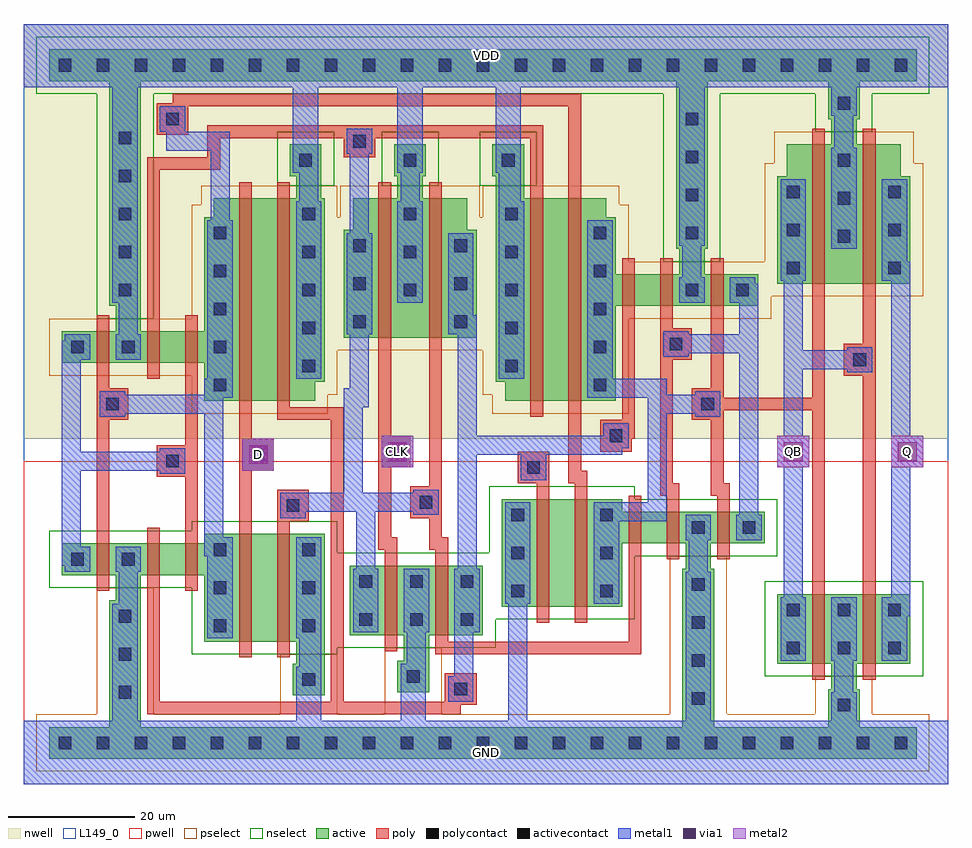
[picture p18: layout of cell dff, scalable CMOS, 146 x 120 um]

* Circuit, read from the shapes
.subckt dff CLK D GND Q QB VDD
M1 GND n1 n2 GND nfet w=5u l=2u
M2 n3 n4 GND GND nfet w=5u l=2u
M3 n1 n2 n3 GND nfet w=5u l=2u
M4 n5 D n1 GND nfet w=17u l=2u
M5 GND n6 n5 GND nfet w=17u l=2u
M6 GND CLK n6 GND nfet w=11u l=2u
M7 n4 n6 GND GND nfet w=11u l=2u
M8 n7 n4 GND GND nfet w=17u l=2u
M9 n8 n1 n7 GND nfet w=17u l=2u
M10 n9 n6 n8 GND nfet w=5u l=2u
M11 GND n10 n9 GND nfet w=5u l=2u
M12 n10 n8 GND GND nfet w=5u l=2u
M13 GND n8 QB GND nfet w=11u l=2u
M14 Q QB GND GND nfet w=11u l=2u
M15 VDD n1 n2 VDD pfet w=5u l=2u
M16 n11 n6 VDD VDD pfet w=5u l=2u
M17 n1 n2 n11 VDD pfet w=5u l=2u
M18 n12 D n1 VDD pfet w=32u l=2u
M19 VDD n4 n12 VDD pfet w=32u l=2u
M20 VDD CLK n6 VDD pfet w=22u l=2u
M21 n4 n6 VDD VDD pfet w=22u l=2u
M22 n13 n6 VDD VDD pfet w=32u l=2u
M23 n8 n1 n13 VDD pfet w=32u l=2u
M24 n14 n4 n8 VDD pfet w=5u l=2u
M25 VDD n10 n14 VDD pfet w=5u l=2u
M26 n10 n8 VDD VDD pfet w=5u l=2u
M27 VDD n8 QB VDD pfet w=22u l=2u
M28 Q QB VDD VDD pfet w=22u l=2u
.ends

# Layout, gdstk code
from math import pi, radians
import gdstk
lib = gdstk.Library(unit=1e-6, precision=1e-09)
def R(c, l, rs):  # rectangles x0, y0, x1, y1
    for r in rs: c.add(gdstk.rectangle(r[:2], r[2:], *l))
def A(c, l, x, y, w, h, nx, ny, dx, dy):  # array of equal rectangles
    R(c, l, [(x+i*dx, y+j*dy, x+i*dx+w, y+j*dy+h) for i in range(nx) for j in range(ny)])
def P(c, l, *ps):  # polygons
    for p in ps: c.add(gdstk.Polygon(p, *l))
pwell = (41, 0)
nwell = (42, 0)
active = (43, 0)
pselect = (44, 0)
nselect = (45, 0)
poly = (46, 0)
polycontact = (47, 0)
activecontact = (48, 0)
metal1 = (49, 0)
via1 = (50, 0)
metal2 = (51, 0)
L149_0 = (149, 0)

via = lib.new_cell('via')
R(via, metal1, [(-2.5,-2.5,2.5,2.5)])
R(via, via1, [(-1.5,-1.5,1.5,1.5)])
R(via, metal2, [(-2.5,-2.5,2.5,2.5)])

dff = lib.new_cell('dff')
R(dff, pwell, [(0,0,146,51), (113,13,146,36), (45.5,17.5,78.5,40.5)])
P(dff, pwell, [(22.5,16.5),(22.5,27),(0,27),(0,44),(22.5,44),(22.5,45.5),(53.5,45.5),(53.5,16.5)],
  [(100.5,22),(100.5,32),(123,32),(123,49),(100.5,49),(100.5,51),(69.5,51),(69.5,22)])
R(dff, nwell, [(0,54.5,146,120)])
P(dff, nwell, [(113,73),(113,102),(114.5,102),(114.5,107),(144.5,107),(144.5,102),(146,102),(146,73)],
  [(99.5,54.5),(99.5,69.5),(122,69.5),(122,86.5),(99.5,86.5),(99.5,95.5),(98,95.5),(98,98.5),(68.5,98.5),(68.5,57.5),(70,57.5),(70,54.5)],
  [(22.5,54.5),(22.5,60.5),(0,60.5),(0,77.5),(22.5,77.5),(22.5,95.5),(24,95.5),(24,98.5),(53.5,98.5),(53.5,57.5),(52,57.5),(52,54.5)],
  [(44.5,64.5),(44.5,93.5),(46,93.5),(46,98.5),(76,98.5),(76,93.5),(77.5,93.5),(77.5,64.5)])
R(dff, active, [(4,4,141,9), (13.5,9,18.5,29), (104,9,109,34), (127,9,132,15), (42.5,14,47.5,19), (59,14.5,64,19.5), (127.5,15,131.5,19), (43,19,47.5,22.5), (119,19,124.5,30), (119,19,140,30), (134.5,19,140,30), (60,19.5,64,23.5), (42,22.5,47.5,39.5), (51.5,23.5,57,34.5), (51.5,23.5,72.5,34.5), (67,23.5,72.5,34.5), (75.5,28,81,45), (14.5,29,18.5,33), (6,33,11.5,38), (104.5,34,108.5,38), (111.5,38,117,43), (6,66.5,11.5,71.5), (14.5,71.5,18.5,75.5), (13.5,75.5,18.5,111), (110.5,75.5,116,80.5), (103.5,80.5,107.5,84.5), (103,84.5,108,111), (43,92.5,47,96), (59,92.5,63,96), (74.5,92.5,79,96), (42,96,47,101), (58.5,96,63.5,101), (74,96,79,101), (127.5,101,131.5,105), (127,105,132,111), (4,111,141,116)])
P(dff, active, [(28.5,22.5),(28.5,33),(6,33),(6,38),(28.5,38),(28.5,39.5),(47.5,39.5),(47.5,22.5)],
  [(134.5,79),(134.5,101),(138.5,101),(138.5,96),(140,96),(140,79)],
  [(119,79),(119,96),(120.5,96),(120.5,101),(138.5,101),(138.5,96),(140,96),(140,79)],
  [(119,79),(119,96),(120.5,96),(120.5,101),(124.5,101),(124.5,79)],
  [(93.5,60.5),(93.5,75.5),(116,75.5),(116,80.5),(93.5,80.5),(93.5,89.5),(92,89.5),(92,92.5),(74.5,92.5),(74.5,63.5),(76,63.5),(76,60.5)],
  [(80,60.5),(80,92.5),(74.5,92.5),(74.5,63.5),(76,63.5),(76,60.5)],
  [(94.5,28),(94.5,38),(117,38),(117,43),(94.5,43),(94.5,45),(75.5,45),(75.5,28)],
  [(28.5,60.5),(28.5,66.5),(6,66.5),(6,71.5),(28.5,71.5),(28.5,89.5),(30,89.5),(30,92.5),(47.5,92.5),(47.5,63.5),(46,63.5),(46,60.5)],
  [(42,60.5),(42,92.5),(47.5,92.5),(47.5,63.5),(46,63.5),(46,60.5)],
  [(66,70.5),(66,92.5),(70,92.5),(70,87.5),(71.5,87.5),(71.5,70.5)],
  [(50.5,70.5),(50.5,87.5),(52,87.5),(52,92.5),(70,92.5),(70,87.5),(71.5,87.5),(71.5,70.5)],
  [(50.5,70.5),(50.5,87.5),(52,87.5),(52,92.5),(56,92.5),(56,70.5)])
R(dff, pselect, [(2,2,143,11), (11.5,11,20.5,31), (40.5,11,49.5,20.5), (57,11,66,21.5), (102,11,111,36), (125,11,134,17)])
P(dff, pselect, [(117,77),(117,98),(118.5,98),(118.5,103),(140.5,103),(140.5,98),(142,98),(142,77)],
  [(95.5,58.5),(95.5,73.5),(118,73.5),(118,82.5),(95.5,82.5),(95.5,91.5),(94,91.5),(94,94.5),(72.5,94.5),(72.5,61.5),(74,61.5),(74,58.5)],
  [(26.5,58.5),(26.5,64.5),(4,64.5),(4,73.5),(26.5,73.5),(26.5,91.5),(28,91.5),(28,94.5),(49.5,94.5),(49.5,61.5),(48,61.5),(48,58.5)],
  [(48.5,68.5),(48.5,89.5),(50,89.5),(50,94.5),(72,94.5),(72,89.5),(73.5,89.5),(73.5,68.5)])
R(dff, nselect, [(117,17,142,32), (49.5,21.5,74.5,36.5), (11.5,73.5,20.5,109), (101,82.5,110,109), (40,94.5,49,103), (56.5,94.5,65.5,103), (72,94.5,81,103), (125,103,134,109), (2,109,143,118)])
P(dff, nselect, [(26.5,20.5),(26.5,31),(4,31),(4,40),(26.5,40),(26.5,41.5),(49.5,41.5),(49.5,20.5)],
  [(96.5,26),(96.5,36),(119,36),(119,45),(96.5,45),(96.5,47),(73.5,47),(73.5,26)])
R(dff, poly, [(66.5,12.5,71.5,17.5), (124.5,16.5,126.5,19), (132.5,16.5,134.5,19), (124.5,19,126.5,30), (132.5,19,134.5,30), (34,20,36,22.5), (40,20,42,22.5), (57,21,59,23.5), (65,21,67,23.5), (34,22.5,36,39.5), (40,22.5,42,39.5), (57,23.5,59,34.5), (65,23.5,67,34.5), (81,25.5,83,28), (87,25.5,89,28), (81,28,83,45), (87,28,89,45), (124.5,30,126.5,32.5), (132.5,30,134.5,32.5), (11.5,30.5,13.5,33), (19.5,30.5,21.5,33), (25.5,30.5,27.5,33), (11.5,33,13.5,38), (19.5,33,21.5,38), (25.5,33,27.5,38), (57,34.5,59,37), (65,34.5,67,37), (95.5,35.5,97.5,38), (101.5,35.5,103.5,38), (109.5,35.5,111.5,38), (11.5,38,13.5,40.5), (19.5,38,21.5,40.5), (25.5,38,27.5,40.5), (95.5,38,97.5,43), (101.5,38,103.5,43), (109.5,38,111.5,43), (34,39.5,36,42), (40,39.5,42,42), (40,41.5,45,46.5), (61,42,66,47), (95.5,43,97.5,45.5), (101.5,43,103.5,45.5), (109.5,43,111.5,45.5), (81,45,83,47.5), (87,45,89,47.5), (78,47.5,83,52.5), (21,48.5,26,53.5), (34.5,49.5,39.5,54.5), (56,50,61,55), (91,52.5,96,57.5), (11.5,57.5,16.5,62.5), (105.5,57.5,110.5,62.5), (34,58,36,60.5), (40,58,42,60.5), (80,58,82,60.5), (86,58,88,60.5), (34,60.5,36,92.5), (40,60.5,42,92.5), (80,60.5,82,92.5), (86,60.5,88,92.5), (11.5,64,13.5,66.5), (19.5,64,21.5,66.5), (25.5,64,27.5,66.5), (129.5,64.5,134.5,69.5), (11.5,66.5,13.5,71.5), (19.5,66.5,21.5,71.5), (25.5,66.5,27.5,71.5), (100.5,67,105.5,72), (56,68,58,70.5), (64,68,66,70.5), (56,70.5,58,92.5), (64,70.5,66,92.5), (11.5,71.5,13.5,74), (19.5,71.5,21.5,74), (25.5,71.5,27.5,74), (94.5,73,96.5,75.5), (100.5,73,102.5,75.5), (108.5,73,110.5,75.5), (94.5,75.5,96.5,80.5), (100.5,75.5,102.5,80.5), (108.5,75.5,110.5,80.5), (124.5,76.5,126.5,79), (132.5,76.5,134.5,79), (124.5,79,126.5,101), (132.5,79,134.5,101), (94.5,80.5,96.5,83), (100.5,80.5,102.5,83), (108.5,80.5,110.5,83), (34,92.5,36,95), (40,92.5,42,95), (56,92.5,58,95), (64,92.5,66,95), (80,92.5,82,95), (86,92.5,88,95), (50.5,99,55.5,104), (124.5,101,126.5,103.5), (132.5,101,134.5,103.5), (21,102.5,26,107.5)])
R(dff, polycontact, [(68,14,70,16), (41.5,43,43.5,45), (62.5,43.5,64.5,45.5), (79.5,49,81.5,51), (22.5,50,24.5,52), (36,51,38,53), (57.5,51.5,59.5,53.5), (92.5,54,94.5,56), (13,59,15,61), (107,59,109,61), (131,66,133,68), (102,68.5,104,70.5), (52,100.5,54,102.5), (22.5,104,24.5,106)])
A(dff, activecontact, 5.5, 5.5, 2, 2, 23, 2, 6, 107)
A(dff, activecontact, 105.5, 12.5, 2, 2, 1, 4, 0, 6)
A(dff, activecontact, 15, 13.5, 2, 2, 1, 3, 0, 6)
A(dff, activecontact, 120.5, 20.5, 2, 2, 3, 2, 8, 6)
A(dff, activecontact, 30, 24, 2, 2, 1, 3, 0, 6)
A(dff, activecontact, 44, 24, 2, 2, 1, 3, 0, 6)
A(dff, activecontact, 53, 25, 2, 2, 3, 2, 8, 6)
A(dff, activecontact, 77, 29.5, 2, 2, 1, 3, 0, 6)
A(dff, activecontact, 91, 29.5, 2, 2, 1, 3, 0, 6)
A(dff, activecontact, 30, 62, 2, 2, 1, 5, 0, 6)
A(dff, activecontact, 90, 62, 2, 2, 1, 5, 0, 6)
A(dff, activecontact, 52, 72, 2, 2, 1, 3, 0, 6)
A(dff, activecontact, 68, 72, 2, 2, 1, 3, 0, 6)
A(dff, activecontact, 15, 77, 2, 2, 1, 5, 0, 6)
A(dff, activecontact, 44, 77, 2, 2, 3, 3, 16, 6)
A(dff, activecontact, 120.5, 80.5, 2, 2, 1, 3, 0, 6)
A(dff, activecontact, 136.5, 80.5, 2, 2, 1, 3, 0, 6)
A(dff, activecontact, 128.5, 85.5, 2, 2, 1, 3, 0, 6)
A(dff, activecontact, 104.5, 86, 2, 2, 1, 4, 0, 6)
R(dff, activecontact, [(128.5,11.5,130.5,13.5), (44,15.5,46,17.5), (60.5,16,62.5,18), (7.5,34.5,9.5,36.5), (15.5,34.5,17.5,36.5), (105.5,39.5,107.5,41.5), (113.5,39.5,115.5,41.5), (44,65,46,67), (76,65,78,67), (7.5,68,9.5,70), (15.5,68,17.5,70), (44,71,46,73), (76,71,78,73), (104.5,77,106.5,79), (112.5,77,114.5,79), (43.5,97.5,45.5,99.5), (60,97.5,62,99.5), (75.5,97.5,77.5,99.5), (128.5,106.5,130.5,108.5)])
A(dff, metal1, 119.5, 19.5, 4, 10, 3, 1, 8, 0)
A(dff, metal1, 52, 24, 4, 10, 3, 1, 8, 0)
R(dff, metal1, [(0,0,146,10), (14,10,18,28.5), (43,10,47,14.5), (59.5,10,63.5,15), (104.5,10,108.5,33.5), (127.5,10,131.5,14.5), (67,13,71,17), (43,14.5,47,18.5), (128,14.5,131,19.5), (59.5,15,63.5,19), (43.5,18.5,47,23), (60.5,19,63.5,24), (29,23,33,39), (43,23,47,39), (15,28.5,18,33.5), (76,28.5,80,44.5), (90,28.5,94,44.5), (6.5,33.5,10.5,37.5), (14.5,33.5,18.5,37.5), (105,33.5,108,38.5), (104.5,38.5,108.5,42.5), (112.5,38.5,116.5,42.5), (40.5,42,44.5,46), (61.5,42.5,65.5,46.5), (78.5,48,82.5,52), (21.5,49,25.5,53), (35,50,39,54), (56.5,50.5,60.5,54.5), (91.5,53,95.5,57), (12,58,16,62), (106,58,110,62), (29,61,33,89), (89,61,93,89), (43,64,47,92), (75,64,79,92), (130,65,134,69), (6.5,67,10.5,71), (14.5,67,18.5,71), (101,67.5,105,71.5), (15,71,18,76), (51,71,55,87), (67,71,71,87), (14,76,18,110), (59,76,63,92), (103.5,76,107.5,80), (111.5,76,115.5,80), (119.5,79.5,123.5,95.5), (135.5,79.5,139.5,95.5), (104,80,107,85), (127.5,84.5,131.5,100.5), (103.5,85,107.5,110), (43.5,92,46.5,96.5), (59.5,92,62.5,96.5), (75,92,78.5,96.5), (42.5,96.5,46.5,100.5), (59,96.5,63,100.5), (74.5,96.5,78.5,101), (51,99.5,55,103.5), (42.5,100.5,46.5,110), (59,100.5,63,110), (74.5,100.5,78.5,110), (128,100.5,131,105.5), (21.5,103,25.5,107), (127.5,105.5,131.5,110), (0,110,146,120)])
R(dff, metal2, [(34.5,49.5,39.5,54.5), (56.5,50,61.5,55), (119,50,124,55), (137,50,142,55)])
R(dff, L149_0, [(0,0,146,120)])
dff.add(gdstk.FlexPath([(26.5,64),(26.5,40.5)], 2, ends="flush", simple_path=True, layer=46, datatype=0))  # poly
dff.add(gdstk.FlexPath([(111.5,46.5),(109.5,46.5),(109.5,73)], 2, ends="flush", simple_path=True, layer=46, datatype=0))  # poly
dff.add(gdstk.FlexPath([(12.5,64),(12.5,40.5)], 2, ends="flush", simple_path=True, layer=46, datatype=0))  # poly
dff.add(gdstk.FlexPath([(23.5,108),(87,108),(87,95)], 2, ends="flush", simple_path=True, layer=46, datatype=0))  # poly
dff.add(gdstk.FlexPath([(87,58),(87,48.5),(89,48.5)], 2, ends="flush", simple_path=True, layer=46, datatype=0))  # poly
dff.add(gdstk.FlexPath([(125.5,32.5),(125.5,76.5)], 2, ends="flush", simple_path=True, layer=46, datatype=0))  # poly
dff.add(gdstk.FlexPath([(65,21.5),(96.5,21.5),(96.5,35.5)], 2, ends="flush", simple_path=True, layer=46, datatype=0))  # poly
dff.add(gdstk.FlexPath([(69,12),(20.5,12),(20.5,35.5)], 2, ends="flush", simple_path=True, layer=46, datatype=0))  # poly
dff.add(gdstk.FlexPath([(35,42),(35,58)], 2, ends="flush", simple_path=True, layer=46, datatype=0))  # poly
dff.add(gdstk.FlexPath([(133.5,76.5),(133.5,32.5)], 2, ends="flush", simple_path=True, layer=46, datatype=0))  # poly
dff.add(gdstk.FlexPath([(95.5,73),(95.5,54.5)], 2, ends="flush", simple_path=True, layer=46, datatype=0))  # poly
dff.add(gdstk.FlexPath([(49.5,13),(49.5,58.5),(40,58.5)], 2, ends="flush", simple_path=True, layer=46, datatype=0))  # poly
dff.add(gdstk.FlexPath([(124.5,60),(110.5,60)], 2, ends="flush", simple_path=True, layer=46, datatype=0))  # poly
dff.add(gdstk.FlexPath([(103.5,46.5),(101.5,46.5),(101.5,73)], 2, ends="flush", simple_path=True, layer=46, datatype=0))  # poly
dff.add(gdstk.FlexPath([(109.5,73),(109.5,45.5)], 2, ends="flush", simple_path=True, layer=46, datatype=0))  # poly
dff.add(gdstk.FlexPath([(67,38),(65,38),(65,68)], 2, ends="flush", simple_path=True, layer=46, datatype=0))  # poly
dff.add(gdstk.FlexPath([(81,95),(81,103),(30,103),(30,98),(20.5,98),(20.5,74)], 2, ends="flush", simple_path=True, layer=46, datatype=0))  # poly
dff.add(gdstk.FlexPath([(57,68),(57,38),(59,38)], 2, ends="flush", simple_path=True, layer=46, datatype=0))  # poly
dff.add(gdstk.FlexPath([(94,43),(100,43),(100,62.5),(93,62.5)], 3, ends="flush", simple_path=True, layer=49, datatype=0))  # metal1
dff.add(gdstk.FlexPath([(50.5,44.5),(44.5,44.5)], 3, ends="flush", simple_path=True, layer=49, datatype=0))  # metal1
dff.add(gdstk.FlexPath([(69.5,24),(69.5,17)], 3, ends="flush", simple_path=True, layer=49, datatype=0))  # metal1
dff.add(gdstk.FlexPath([(53,87),(53,99.5)], 3, ends="flush", simple_path=True, layer=49, datatype=0))  # metal1
dff.add(gdstk.FlexPath([(130,67),(123,67)], 3, ends="flush", simple_path=True, layer=49, datatype=0))  # metal1
dff.add(gdstk.FlexPath([(16,60),(28.5,60)], 3, ends="flush", simple_path=True, layer=49, datatype=0))  # metal1
dff.add(gdstk.FlexPath([(30,64),(30,36)], 3, ends="flush", simple_path=True, layer=49, datatype=0))  # metal1
dff.add(gdstk.FlexPath([(21.5,51),(9,51)], 3, ends="flush", simple_path=True, layer=49, datatype=0))  # metal1
dff.add(gdstk.FlexPath([(7.5,70),(7.5,34.5)], 3, ends="flush", simple_path=True, layer=49, datatype=0))  # metal1
dff.add(gdstk.FlexPath([(94.5,53.5),(71.5,53.5)], 3, ends="flush", simple_path=True, layer=49, datatype=0))  # metal1
dff.add(gdstk.FlexPath([(105,69.5),(113,69.5)], 3, ends="flush", simple_path=True, layer=49, datatype=0))  # metal1
dff.add(gdstk.FlexPath([(31,89),(31,101.5),(22.5,101.5)], 3, ends="flush", simple_path=True, layer=49, datatype=0))  # metal1
dff.add(gdstk.FlexPath([(78,10),(78,33)], 3, ends="flush", simple_path=True, layer=49, datatype=0))  # metal1
dff.add(gdstk.FlexPath([(121.5,55),(121.5,79.5)], 3, ends="flush", simple_path=True, layer=49, datatype=0))  # metal1
dff.add(gdstk.FlexPath([(70,34),(70,74)], 3, ends="flush", simple_path=True, layer=49, datatype=0))  # metal1
dff.add(gdstk.FlexPath([(100,60),(106,60)], 3, ends="flush", simple_path=True, layer=49, datatype=0))  # metal1
dff.add(gdstk.FlexPath([(138.5,82.5),(138.5,26.5)], 3, ends="flush", simple_path=True, layer=49, datatype=0))  # metal1
dff.add(gdstk.FlexPath([(61.5,44.5),(55.5,44.5)], 3, ends="flush", simple_path=True, layer=49, datatype=0))  # metal1
dff.add(gdstk.FlexPath([(114.5,42.5),(114.5,79)], 3, ends="flush", simple_path=True, layer=49, datatype=0))  # metal1
dff.add(gdstk.FlexPath([(121.5,50),(121.5,29.5)], 3, ends="flush", simple_path=True, layer=49, datatype=0))  # metal1
dff.add(gdstk.FlexPath([(54,34),(54,44.5),(52,44.5),(52,61),(53,61),(53,71)], 3, ends="flush", simple_path=True, layer=49, datatype=0))  # metal1
dff.add(gdstk.Reference(via, (121.5,52.5)))
dff.add(gdstk.Reference(via, (139.5,52.5)))
dff.add(gdstk.Reference(via, (59,52.5)))
dff.add(gdstk.Reference(via, (37,52), rotation=pi, x_reflection=True))
dff.add(gdstk.Label('VDD', (73,115), layer=2, texttype=0))
dff.add(gdstk.Label('GND', (73,5), layer=2, texttype=0))
dff.add(gdstk.Label('QB', (121.5,52.5), layer=3, texttype=0))
dff.add(gdstk.Label('D', (37,52), layer=3, texttype=0))
dff.add(gdstk.Label('CLK', (59,52.5), layer=3, texttype=0))
dff.add(gdstk.Label('Q', (139.5,52.5), layer=3, texttype=0))
dff.add(gdstk.Label('VDD', (73,115), layer=2, texttype=0))
dff.add(gdstk.Label('GND', (73,5), layer=2, texttype=0))
dff.add(gdstk.Label('QB', (121.5,52.5), layer=3, texttype=0))
dff.add(gdstk.Label('D', (37,52), layer=3, texttype=0))
dff.add(gdstk.Label('CLK', (59,52.5), layer=3, texttype=0))
dff.add(gdstk.Label('Q', (139.5,52.5), layer=3, texttype=0))

lib.write_gds('dff.gds')
